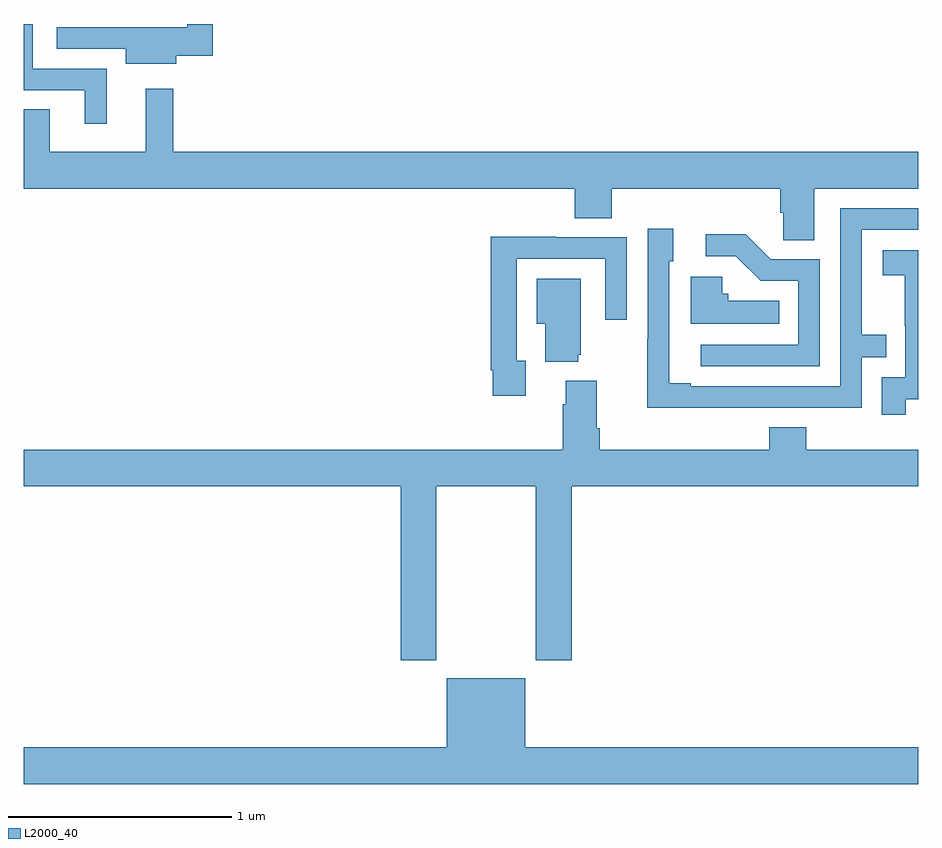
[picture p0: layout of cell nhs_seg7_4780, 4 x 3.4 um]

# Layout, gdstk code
import gdstk
lib = gdstk.Library(unit=1e-6, precision=1e-09)
def P(c, l, *ps):  # polygons
    for p in ps: c.add(gdstk.Polygon(p, *l))
L2000_40 = (2000, 40)

nhs_seg7_4780 = lib.new_cell('nhs_seg7_4780')
P(nhs_seg7_4780, L2000_40, [(411.37,1019.799),(411.04,1019.799),(411.04,1020),(411,1020),(411,1019.703),(411.272,1019.703),(411.272,1019.553),(411.37,1019.553)],
  [(411.682,1019.857),(411.844,1019.857),(411.844,1019.999),(411.731,1019.999),(411.731,1019.986),(411.459,1019.986),(411.459,1019.985),(411.147,1019.985),(411.147,1019.889),(411.455,1019.889),(411.455,1019.822),(411.682,1019.822)],
  [(414.535,1019.264),(415,1019.264),(415,1019.428),(411.667,1019.428),(411.667,1019.71),(411.545,1019.71),(411.545,1019.428),(411.115,1019.428),(411.115,1019.618),(411,1019.618),(411,1019.264),(413.465,1019.264),(413.465,1019.131),(413.63,1019.131),(413.63,1019.264),(414.383,1019.264),(414.383,1019.155),(414.396,1019.155),(414.396,1019.032),(414.535,1019.032)],
  [(414.251,1018.284),(414.747,1018.284),(414.747,1018.509),(414.857,1018.509),(414.857,1018.61),(414.747,1018.61),(414.747,1019.079),(415,1019.079),(415,1019.175),(414.651,1019.175),(414.651,1018.38),(413.983,1018.38),(413.983,1018.393),(413.886,1018.393),(413.886,1018.938),(413.905,1018.938),(413.905,1019.083),(413.79,1019.083),(413.79,1018.589),(413.788,1018.589),(413.788,1018.283),(414.251,1018.283)],
  [(414.561,1018.947),(414.342,1018.947),(414.229,1019.06),(414.051,1019.06),(414.051,1018.962),(414.185,1018.962),(414.296,1018.851),(414.465,1018.851),(414.465,1018.566),(414.027,1018.566),(414.027,1018.47),(414.561,1018.47)],
  [(413.245,1018.494),(413.205,1018.494),(413.205,1018.95),(413.601,1018.95),(413.601,1018.677),(413.697,1018.677),(413.697,1019.046),(413.381,1019.046),(413.381,1019.048),(413.089,1019.048),(413.089,1018.45),(413.097,1018.45),(413.097,1018.338),(413.245,1018.338)],
  [(414.946,1018.321),(415,1018.321),(415,1018.987),(414.843,1018.987),(414.843,1018.877),(414.941,1018.877),(414.941,1018.649),(414.942,1018.649),(414.942,1018.419),(414.837,1018.419),(414.837,1018.251),(414.946,1018.251)],
  [(414.38,1018.762),(414.15,1018.762),(414.15,1018.794),(414.123,1018.794),(414.123,1018.87),(413.984,1018.87),(413.984,1018.658),(414.38,1018.658)],
  [(413.48,1018.521),(413.491,1018.521),(413.491,1018.861),(413.294,1018.861),(413.294,1018.658),(413.333,1018.658),(413.333,1018.49),(413.48,1018.49)],
  [(412.845,1017.932),(413.29,1017.932),(413.29,1017.153),(413.45,1017.153),(413.45,1017.932),(415,1017.932),(415,1018.096),(414.5,1018.096),(414.5,1018.195),(414.335,1018.195),(414.335,1018.096),(413.576,1018.096),(413.576,1018.192),(413.563,1018.192),(413.563,1018.405),(413.423,1018.405),(413.423,1018.298),(413.411,1018.298),(413.411,1018.096),(411,1018.096),(411,1017.932),(412.685,1017.932),(412.685,1017.153),(412.845,1017.153)],
  [(415,1016.764),(413.242,1016.764),(413.242,1017.073),(412.892,1017.073),(412.892,1016.764),(411,1016.764),(411,1016.6),(415,1016.6)])

lib.write_gds('nhs_seg7_4780.gds')
